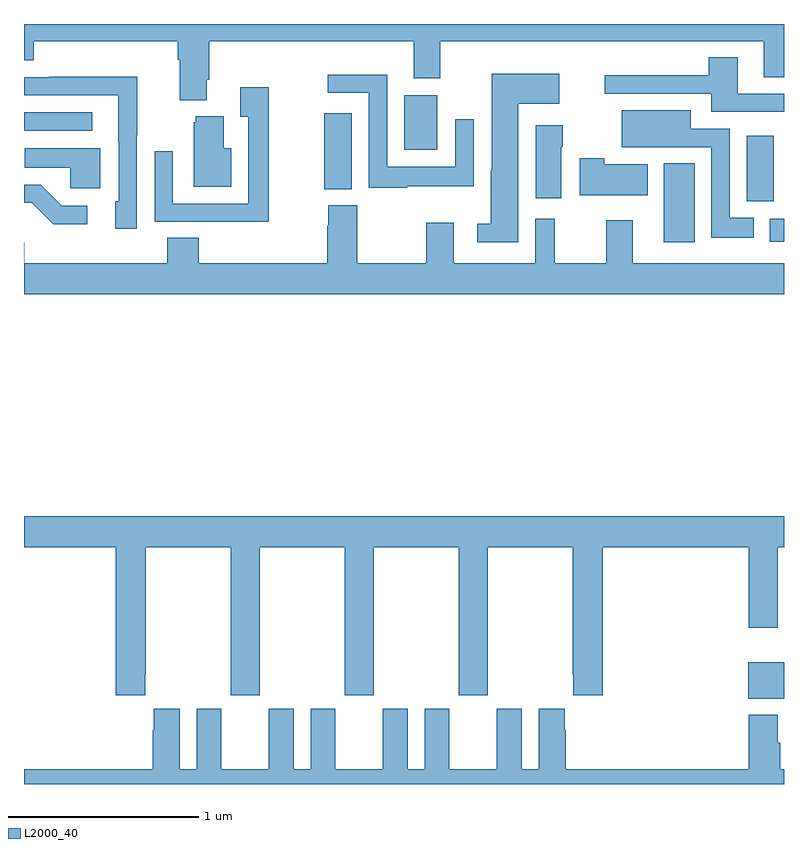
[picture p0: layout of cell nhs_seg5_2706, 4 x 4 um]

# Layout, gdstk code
import gdstk
lib = gdstk.Library(unit=1e-6, precision=1e-09)
def R(c, l, rs):  # rectangles x0, y0, x1, y1
    for r in rs: c.add(gdstk.rectangle(r[:2], r[2:], *l))
def P(c, l, *ps):  # polygons
    for p in ps: c.add(gdstk.Polygon(p, *l))
L2000_40 = (2000, 40)

nhs_seg5_2706 = lib.new_cell('nhs_seg5_2706')
R(nhs_seg5_2706, L2000_40, [(270.812,905.249,271,905.44), (270.368,907.65,270.529,908.065), (270.926,907.652,271,907.774), (270.803,907.865,270.946,908.212), (268.579,907.93,268.726,908.329), (269,908.138,269.176,908.425), (267,908.238,267.358,908.334)])
P(nhs_seg5_2706, L2000_40, [(267.961,908.506),(267.974,908.506),(267.974,908.708),(269.051,908.708),(269.051,908.514),(269.191,908.514),(269.191,908.708),(270.893,908.708),(270.893,908.518),(271,908.518),(271,908.799),(267,908.799),(267,908.609),(267.05,908.609),(267.05,908.708),(267.809,908.708),(267.809,908.612),(267.821,908.612),(267.821,908.399),(267.961,908.399)],
  [(271,908.433),(270.757,908.433),(270.757,908.623),(270.605,908.623),(270.605,908.53),(270.057,908.53),(270.057,908.433),(270.617,908.433),(270.617,908.337),(271,908.337)],
  [(269.602,908.378),(269.818,908.378),(269.818,908.536),(269.462,908.536),(269.462,908.028),(269.456,908.028),(269.456,907.748),(269.385,907.748),(269.385,907.65),(269.602,907.65)],
  [(269.018,907.946),(269.367,907.946),(269.367,908.299),(269.271,908.299),(269.271,908.047),(268.911,908.047),(268.911,908.533),(268.599,908.533),(268.599,908.436),(268.815,908.436),(268.815,907.936),(269.018,907.936)],
  [(267.594,908.215),(267.597,908.215),(267.597,908.522),(267.133,908.522),(267.133,908.52),(267,908.52),(267,908.424),(267.497,908.424),(267.497,908.179),(267.498,908.179),(267.498,907.866),(267.479,907.866),(267.479,907.722),(267.594,907.722)],
  [(268.288,908.467),(268.139,908.467),(268.139,908.311),(268.179,908.311),(268.179,907.854),(267.783,907.854),(267.783,908.128),(267.687,908.128),(267.687,907.758),(268.003,907.758),(268.003,907.757),(268.288,907.757)],
  [(270.841,907.78),(270.714,907.78),(270.714,908.247),(270.508,908.247),(270.508,908.344),(270.146,908.344),(270.146,908.15),(270.372,908.15),(270.372,908.151),(270.618,908.151),(270.618,907.673),(270.841,907.673)],
  [(268.09,908.146),(268.051,908.146),(268.051,908.314),(267.905,908.314),(267.905,908.283),(267.893,908.283),(267.893,907.943),(268.09,907.943)],
  [(269.827,908.153),(269.835,908.153),(269.835,908.266),(269.693,908.266),(269.693,907.881),(269.827,907.881)],
  [(267.4,908.146),(267.004,908.146),(267.004,908.042),(267.243,908.042),(267.243,907.934),(267.4,907.934)],
  [(270.283,908.062),(270.054,908.062),(270.054,908.092),(269.924,908.092),(269.924,907.898),(270.283,907.898)],
  [(267.334,907.842),(267.199,907.842),(267.088,907.953),(267,907.953),(267,907.857),(267.042,907.857),(267.155,907.745),(267.334,907.745)],
  [(271,907.54),(270.205,907.54),(270.205,907.765),(270.065,907.765),(270.065,907.54),(269.794,907.54),(269.794,907.774),(269.69,907.774),(269.69,907.54),(269.263,907.54),(269.263,907.753),(269.116,907.753),(269.116,907.54),(268.755,907.54),(268.755,907.845),(268.6,907.845),(268.6,907.736),(268.595,907.736),(268.595,907.54),(267.92,907.54),(267.92,907.673),(267.755,907.673),(267.755,907.54),(267.002,907.54),(267.002,907.649),(267,907.649),(267,907.376),(271,907.376)],
  [(267.637,905.377),(267.642,905.377),(267.642,906.044),(268.087,906.044),(268.087,905.265),(268.242,905.265),(268.242,906.044),(268.687,906.044),(268.687,905.265),(268.842,905.265),(268.842,906.044),(269.287,906.044),(269.287,905.265),(269.442,905.265),(269.442,906.044),(269.887,906.044),(269.887,905.377),(269.891,905.377),(269.891,905.265),(270.047,905.265),(270.047,906.044),(270.815,906.044),(270.815,905.622),(270.967,905.622),(270.967,906.044),(271,906.044),(271,906.208),(267,906.208),(267,906.044),(267.482,906.044),(267.482,905.265),(267.637,905.265)],
  [(269.845,905.081),(269.845,905.194),(269.708,905.194),(269.708,904.876),(269.62,904.876),(269.62,905.194),(269.489,905.194),(269.489,904.876),(269.239,904.876),(269.239,905.194),(269.108,905.194),(269.108,904.876),(269.02,904.876),(269.02,905.194),(268.889,905.194),(268.889,904.876),(268.639,904.876),(268.639,905.194),(268.508,905.194),(268.508,904.876),(268.42,904.876),(268.42,905.194),(268.289,905.194),(268.289,904.876),(268.039,904.876),(268.039,905.194),(267.908,905.194),(267.908,904.876),(267.82,904.876),(267.82,905.194),(267.683,905.194),(267.683,905.081),(267.677,905.081),(267.677,904.876),(267,904.876),(267,904.799),(271,904.799),(271,904.876),(270.98,904.876),(270.98,905.015),(270.967,905.015),(270.967,905.164),(270.815,905.164),(270.815,904.876),(269.852,904.876),(269.852,905.081)])

lib.write_gds('nhs_seg5_2706.gds')
